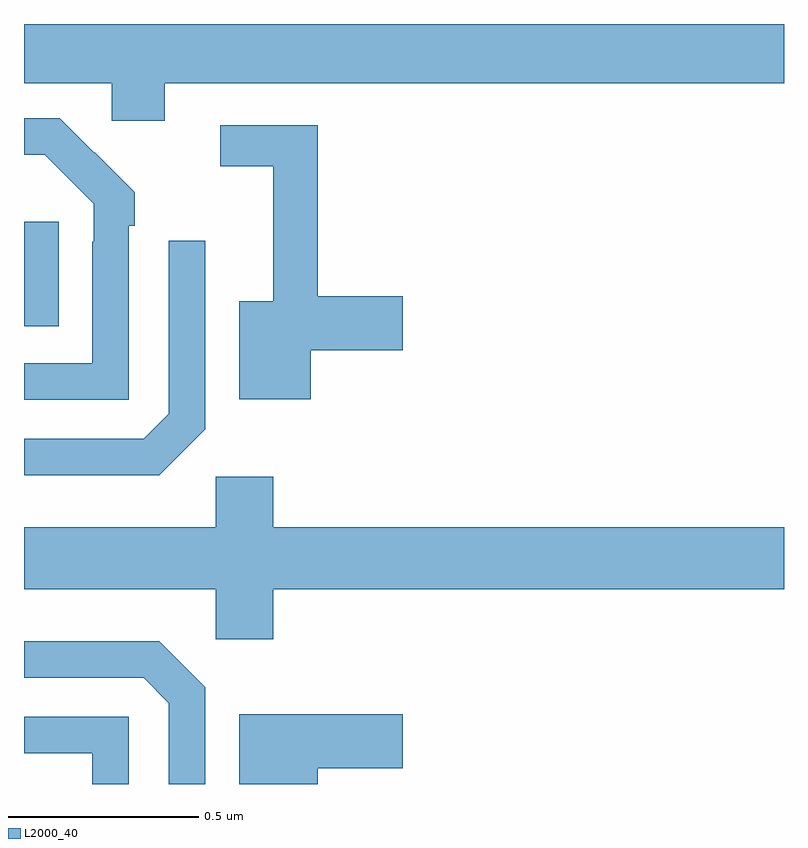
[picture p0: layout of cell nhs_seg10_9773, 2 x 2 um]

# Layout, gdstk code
import gdstk
lib = gdstk.Library(unit=1e-6, precision=1e-09)
def R(c, l, rs):  # rectangles x0, y0, x1, y1
    for r in rs: c.add(gdstk.rectangle(r[:2], r[2:], *l))
def P(c, l, *ps):  # polygons
    for p in ps: c.add(gdstk.Polygon(p, *l))
L2000_40 = (2000, 40)

nhs_seg10_9773 = lib.new_cell('nhs_seg10_9773')
R(nhs_seg10_9773, L2000_40, [(234,1271.705,234.091,1271.98)])
P(nhs_seg10_9773, L2000_40, [(234.37,1272.344),(236,1272.344),(236,1272.5),(234,1272.5),(234,1272.344),(234.231,1272.344),(234.231,1272.246),(234.37,1272.246)],
  [(234.276,1271.969),(234.291,1271.969),(234.291,1272.057),(234.186,1272.162),(234.185,1272.161),(234.094,1272.252),(234,1272.252),(234,1272.156),(234.055,1272.156),(234.183,1272.027),(234.183,1271.927),(234.18,1271.927),(234.18,1271.607),(234,1271.607),(234,1271.511),(234.276,1271.511)],
  [(234.754,1271.641),(234.997,1271.641),(234.997,1271.783),(234.773,1271.783),(234.773,1272.234),(234.516,1272.234),(234.516,1272.126),(234.656,1272.126),(234.656,1271.77),(234.566,1271.77),(234.566,1271.513),(234.754,1271.513)],
  [(234.477,1271.433),(234.477,1271.929),(234.381,1271.929),(234.381,1271.475),(234.315,1271.409),(234,1271.409),(234,1271.312),(234.356,1271.312)],
  [(234.656,1271.012),(236,1271.012),(236,1271.176),(234.656,1271.176),(234.656,1271.308),(234.504,1271.308),(234.504,1271.176),(234,1271.176),(234,1271.012),(234.504,1271.012),(234.504,1270.881),(234.656,1270.881)],
  [(234.477,1270.755),(234.356,1270.876),(234,1270.876),(234,1270.779),(234.315,1270.779),(234.381,1270.713),(234.381,1270.5),(234.477,1270.5)],
  [(234.773,1270.541),(234.997,1270.541),(234.997,1270.683),(234.566,1270.683),(234.566,1270.5),(234.773,1270.5)],
  [(234.276,1270.677),(234,1270.677),(234,1270.581),(234.18,1270.581),(234.18,1270.5),(234.276,1270.5)])

lib.write_gds('nhs_seg10_9773.gds')
